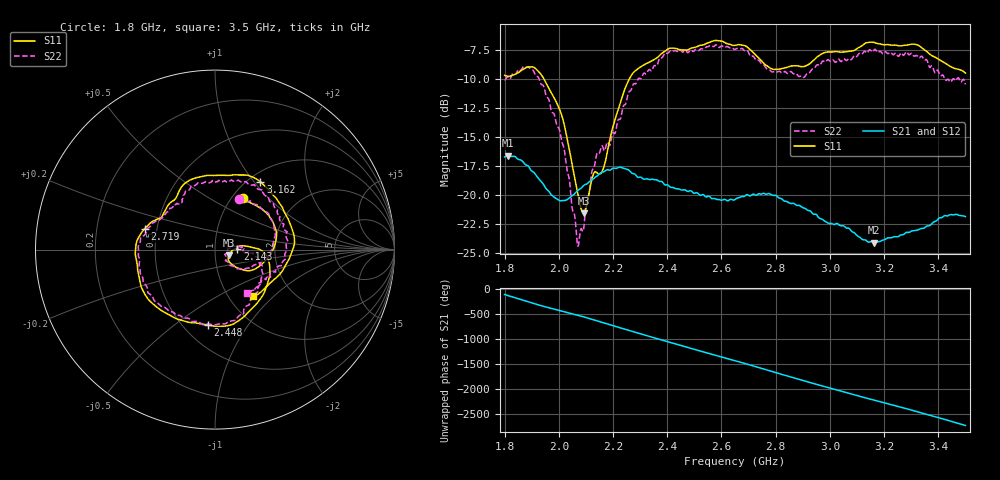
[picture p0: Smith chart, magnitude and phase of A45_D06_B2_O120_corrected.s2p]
! Created with skrf 1.9.0 (http://scikit-rf.org).
# Hz S RI R 50.0
!freq ReS11 ImS11 ReS21 ImS21 ReS12 ImS12 ReS22 ImS22
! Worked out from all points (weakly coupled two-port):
!   1601 points, 1.8 GHz to 3.5 GHz, reference 50 ohm
!   highest |S21| = -16.60 dB at 1.812 GHz (marker M1); lowest = -24.1 dB at 3.163 GHz (marker M2)
!   lowest |S11| = -21.6 dB at 2.092 GHz (marker M3), VSWR 1.18, Z = 58.3 - j3.63 ohm
!   |S11| at or under -10 dB: 1.945 GHz to 2.26 GHz (314.5 MHz wide, 15 % of centre)
!   |S22| runs from -24.4 to -7.0 dB; largest |S21 - S12| = 0.0025
!   S11 on the Smith chart (normalised r, x): 1.8 GHz: 1.12, +0.73; 2.143 GHz: 1.28, +0.01; 2.448 GHz: 0.65, -0.67; 2.719 GHz: 0.43, +0.12; 3.162 GHz: 1.13, +1.08; 3.5 GHz: 1.29, -0.76
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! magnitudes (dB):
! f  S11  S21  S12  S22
! 1.8 GHz  -9.7  -16.7  -16.7  -10.1
! 1.812 GHz  -9.7  -16.6  -16.6  -9.8
! 1.881 GHz  -9.0  -17.4  -17.4  -9.0
! 1.942 GHz  -9.9  -19.0  -19.0  -10.5
! 2.013 GHz  -13.3  -20.5  -20.5  -15.5
! 2.067 GHz  -19.5  -19.7  -19.7  -23.8
! 2.084 GHz  -21.3  -19.4  -19.3  -22.9
! 2.092 GHz  -21.6  -19.1  -19.2  -22.8
! 2.143 GHz  -18.1  -18.3  -18.3  -16.3
! 2.166 GHz  -17.6  -18.0  -17.9  -16.1
! 2.26 GHz  -10.0  -17.9  -17.9  -11.1
! 2.367 GHz  -8.1  -18.8  -18.7  -8.5
! 2.448 GHz  -7.5  -19.5  -19.5  -7.5
! 2.65 GHz  -7.1  -20.4  -20.3  -7.4
! 2.719 GHz  -7.8  -19.9  -19.8  -8.1
! 2.792 GHz  -9.2  -20.0  -20.0  -9.4
! 2.934 GHz  -8.5  -21.5  -21.5  -9.2
! 3.162 GHz  -6.8  -24.1  -24.0  -7.5
! 3.163 GHz  -6.8  -24.1  -24.0  -7.5
! 3.217 GHz  -7.0  -23.7  -23.6  -7.8
! 3.321 GHz  -7.0  -23.0  -23.0  -8.0
! 3.5 GHz  -9.5  -21.8  -21.8  -10.5
